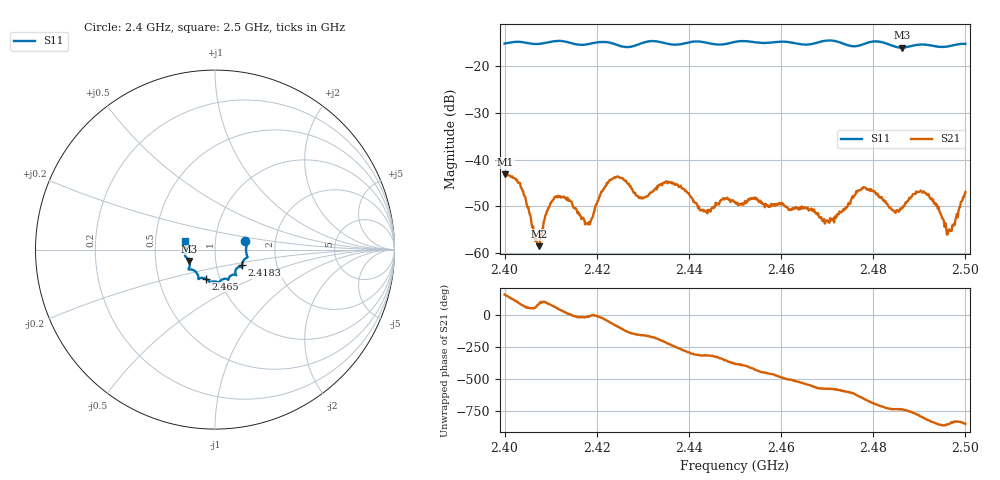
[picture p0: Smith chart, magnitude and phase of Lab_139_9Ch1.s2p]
# Hz S RI R 50
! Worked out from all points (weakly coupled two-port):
!   601 points, 2.4 GHz to 2.5 GHz, reference 50 ohm
!   highest |S21| = -43.20 dB at 2.4002 GHz (marker M1); lowest = -58.6 dB at 2.4075 GHz (marker M2)
!   lowest |S11| = -16.0 dB at 2.4862 GHz (marker M3), VSWR 1.37, Z = 37.1 - j4.8 ohm
!   |S11| at or under -10 dB: start of sweep to end of sweep
!   S12 and S22 are empty: the file has one direction only
!   S11 on the Smith chart (normalised r, x): 2.4 GHz: 1.40, +0.13; 2.4183 GHz: 1.33, -0.24; 2.465 GHz: 0.86, -0.29; 2.5 GHz: 0.71, +0.07
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2.4e9  0.1688 0.0453  -0.00634 0.00273  0 0  0 0
2.400167e9  0.1699 0.0445  -0.00622 0.00303  0 0  0 0
2.4035e9  0.1793 0.03  0.000842 0.00501  0 0  0 0
2.4075e9  0.1731 -0.00959  6.71e-05 0.00118  0 0  0 0
2.411167e9  0.1816 -0.0399  0.00233 0.00329  0 0  0 0
2.416667e9  0.1548 -0.0683  0.00215 -0.000812  0 0  0 0
2.418333e9  0.1498 -0.0869  0.00206 -0.000613  0 0  0 0
2.423333e9  0.1471 -0.097  0.00229 -0.00572  0 0  0 0
2.429667e9  0.1131 -0.1345  -0.00359 -0.00134  0 0  0 0
2.433333e9  0.1169 -0.1414  -0.00502 0.000912  0 0  0 0
2.437833e9  0.0833 -0.149  -0.000728 0.00502  0 0  0 0
2.4435e9  0.0701 -0.1655  0.00202 0.00193  0 0  0 0
2.45e9  0.0252 -0.1805  0.00322 -0.00138  0 0  0 0
2.465e9  -0.0529 -0.1621  -0.00307 -0.000206  0 0  0 0
2.466667e9  -0.0714 -0.1575  -0.00283 0.000873  0 0  0 0
2.471e9  -0.0922 -0.1641  -0.00175 0.00141  0 0  0 0
2.478e9  -0.1327 -0.1112  0.00214 0.00455  0 0  0 0
2.483333e9  -0.1422 -0.0959  0.00308 -0.000569  0 0  0 0
2.486167e9  -0.1447 -0.0631  0.00288 -0.000853  0 0  0 0
2.490833e9  -0.1672 -0.0338  0.00066 -0.00444  0 0  0 0
2.4965e9  -0.1624 0.0224  -0.00115 -0.00136  0 0  0 0
2.5e9  -0.1669 0.0474  -0.00292 -0.0034  0 0  0 0
